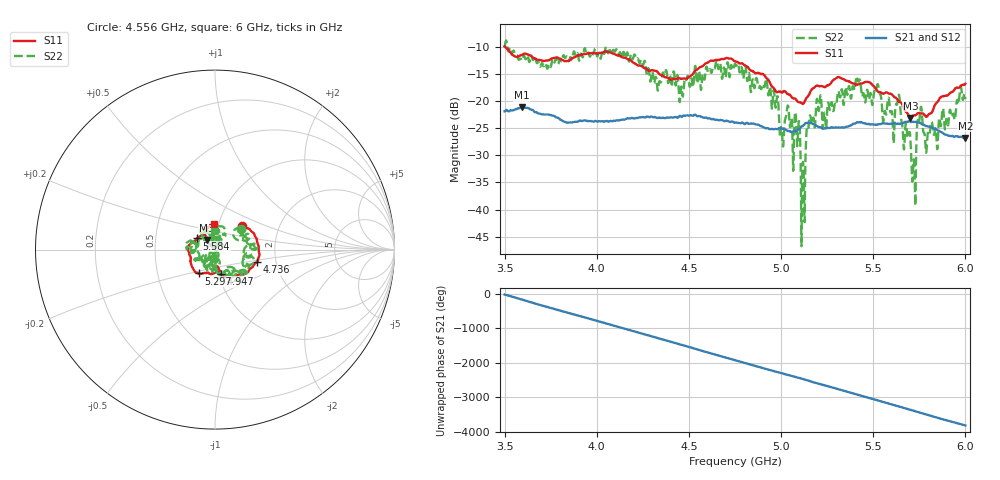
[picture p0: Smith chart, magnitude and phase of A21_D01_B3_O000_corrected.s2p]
! Created with skrf 1.9.0 (http://scikit-rf.org).
# Hz S RI R 50.0
!freq ReS11 ImS11 ReS21 ImS21 ReS12 ImS12 ReS22 ImS22
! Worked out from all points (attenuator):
!   1601 points, 3.5 GHz to 6 GHz, reference 50 ohm
!   highest |S21| = -21.19 dB at 3.594 GHz (marker M1); lowest = -26.8 dB at 6 GHz (marker M2)
!   lowest |S11| = -23.1 dB at 5.702 GHz (marker M3), VSWR 1.15, Z = 45.5 + j4.89 ohm
!   |S11| at or under -10 dB: 3.502 GHz to end of sweep
!   |S22| runs from -46.8 to -8.8 dB; largest |S21 - S12| = 0.0012
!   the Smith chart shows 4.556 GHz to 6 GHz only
!   S11 on the Smith chart (normalised r, x): 4.556 GHz: 1.30, +0.36; 4.736 GHz: 1.58, -0.24; 4.947 GHz: 1.03, -0.28; 5.297 GHz: 0.80, -0.22; 5.584 GHz: 0.81, +0.10; 6 GHz: 0.95, +0.28
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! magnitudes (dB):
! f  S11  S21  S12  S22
! 3.5 GHz  -9.9  -21.9  -21.9  -9.9
! 3.594 GHz  -11.5  -21.2  -21.2  -12.5
! 3.917 GHz  -11.5  -23.7  -23.7  -11.3
! 4.334 GHz  -14.8  -23.1  -23.0  -17.5
! 4.556 GHz  -13.8  -22.8  -22.7  -14.5
! 4.736 GHz  -12.3  -23.8  -23.9  -14.1
! 4.75 GHz  -12.7  -24.0  -23.9  -13.1
! 4.947 GHz  -17.1  -25.1  -25.1  -20.2
! 5.003 GHz  -18.4  -25.1  -25.2  -25.2
! 5.088 GHz  -20.0  -25.4  -25.4  -28.3
! 5.119 GHz  -20.5  -24.6  -24.5  -31.2
! 5.147 GHz  -19.1  -24.0  -24.0  -24.8
! 5.167 GHz  -17.8  -24.2  -24.1  -24.2
! 5.297 GHz  -15.8  -24.9  -24.8  -20.5
! 5.417 GHz  -16.9  -23.9  -24.0  -16.4
! 5.584 GHz  -18.6  -24.2  -24.2  -19.4
! 5.636 GHz  -19.9  -24.1  -24.1  -19.2
! 5.702 GHz  -23.1  -23.8  -23.8  -27.0
! 5.72 GHz  -22.6  -23.8  -23.8  -30.8
! 5.752 GHz  -22.2  -24.0  -24.0  -23.0
! 5.839 GHz  -20.5  -25.2  -25.1  -25.1
! 6 GHz  -16.8  -26.8  -26.8  -19.6
